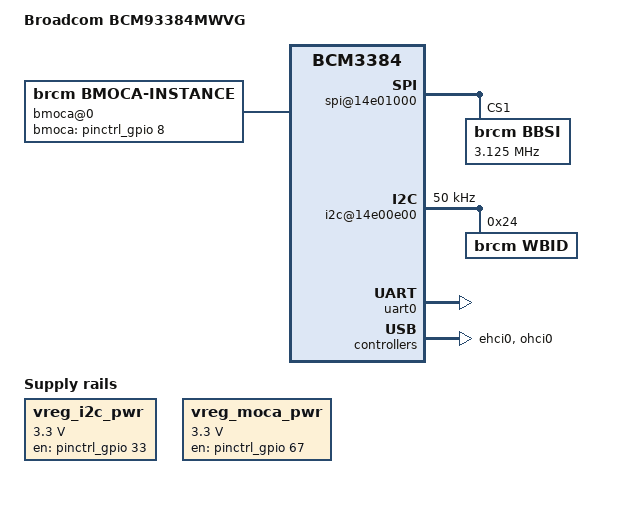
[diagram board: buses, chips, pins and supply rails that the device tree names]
/dts-v1/;

/include/ "bcm3384_zephyr.dtsi"

/ {
	compatible = "brcm,bcm93384wvg", "brcm,bcm3384";
	model = "Broadcom BCM93384MWVG";
	subsystem = "rg_2nd_core";

	chosen {
		bootargs = "console=ttyS0,115200";
		stdout-path = &uart0;
	};
	board_id {
		product_name = "BCM93384MWVG";
	};
};

&uart0 {
	status = "okay";
};

&ehci0 {
	status = "okay";
};

&ohci0 {
	status = "okay";
};

/include/ "bcm3384_mgw_zephyr.dtsi"

/ {
	pinctrl_gpio: pinctrl_gpio@14e00100 {

		pinctrl-0 = <&wifi_pwr_ctrl
			     &mocapwr &bmoca_int &mocaflwctrl &moca_rgmii0
			     &ethsw_mdio &ethsw_rgmii &ethsw_spi &ethsw_pwr_ctrl
			     &i2c_pwr &i2c_wbid>;
		mocapwr: mocapwr {
			brcm,pins = <67>;
			brcm,function = <5>; /* GPIO */
		};
		bmoca_int: bmoca_int {
			brcm,pins = <8>;
			brcm,function = <5>; /* GPIO */
		};
		mocaflwctrl: mocaflwctrl {
			brcm,pins = <16 17>;
			brcm,function = <5>; /* GPIO */
		};
		moca_rgmii0: moca_rgmii0 {
			brcm,pins = <42 43 44 45 46 47 48 49 50 51 52 53>;
			brcm,function = <1>; /* RGMII0 */
		};
		i2c_wbid: i2c_wbid {
			brcm,pins = <36 37>;
			brcm,function = <1>; /* RFT1_DATA/CLK */
		};
		i2c_pwr: i2c_pwr {
			brcm,pins = <33>;
			brcm,function = <5>; /* GPIO */
		};

	};

	vreg_i2c_pwr: vreg-i2c-pwr {
		compatible = "regulator-fixed";
		regulator-name = "vreg-i2c-pwr";
		regulator-min-microvolt = <3300000>;
		regulator-max-microvolt = <3300000>;
		gpio = <&pinctrl_gpio 33 0>;
		enable-active-high;
		regulator-always-on;
	};

	vreg_moca_pwr: vreg-moca-pwr {
		compatible = "regulator-fixed";
		regulator-name = "vreg-moca-pwr";
		regulator-min-microvolt = <3300000>;
		regulator-max-microvolt = <3300000>;
		gpio = <&pinctrl_gpio 67 0>;
		enable-active-high;
		regulator-always-on;
	};

	spi@14e01000 {

		bbsi@1  {
			reg = <1>;
			compatible = "brcm,bbsi";
			spi-max-frequency = <3125000>;
			spi-cpol = <1>;
			spi-cpha = <1>;
		};
        };

	i2c@14e00e00 {
		clock-frequency = <50000>;
		compatible = "brcm,brcmper-i2c";
		reg = <0x14e00e00 0x58>,
		      <0x104b00f4 0x4>;
		port-select = <1>;
		#address-cells = <1>;
		#size-cells = <0>;

		wbid@24 {
			compatible = "brcm,wbid";
			reg = <0x24>;
		};
	};

	moca0: moca0 {
		compatible = "brcm,dqnet";
		channel = <&qchan0>;
		dev-name = "moca0";
		if-id = <1>;
		if-sub-id = <0>; /* if-sub-id must match the first column in phy-port node */
		demux = "subid";
		link-type = "phy";
		phy-mode = "moca";
		fixed-link {
			full-duplex;
			speed = <1000>;
		};
	};

	bmoca@0 {
		hw-rev = <0x2002>;
		compatible = "brcm,bmoca-instance";
		reg = <0x10600000>;
		bmoca-gpio = <&pinctrl_gpio 8 0>;
		/* interrupt-names = "main"; */
		/* interrupt-parent = <&pinctrl_gpio>; */
		/* interrupts = <8 1>; */
		enet-id = <0x0>;
		rf-band = "d_low";
		use-spi = <1>;
		local-mac-address = "bbcde";
		#address-cells = <1>;
		#size-cells = <0>;
	};
};
